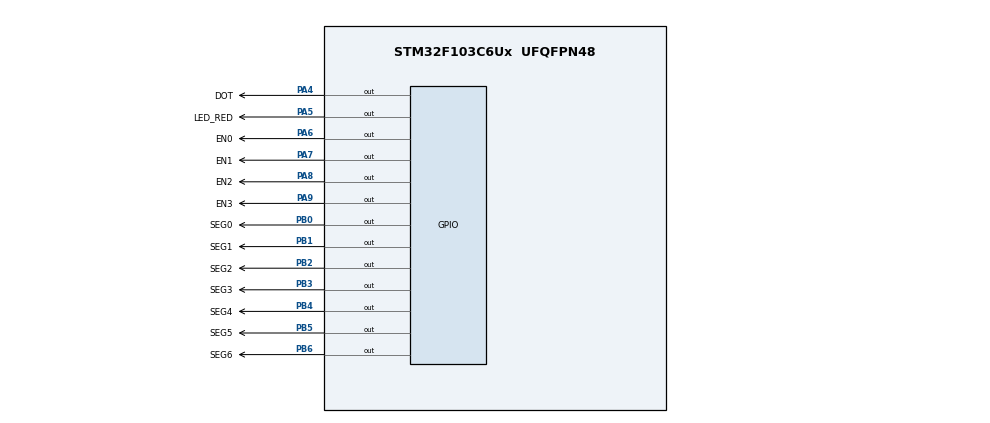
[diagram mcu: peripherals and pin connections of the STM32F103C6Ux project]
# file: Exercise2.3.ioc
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Mcu.Family=STM32F1
Mcu.Name=STM32F103C6Ux
Mcu.Package=UFQFPN48
NVIC.PriorityGroup=NVIC_PRIORITYGROUP_4
NVIC.TIM2_IRQn=true\:0\:0\:false\:false\:true\:true\:true
PA4.GPIO_Label=DOT
PA4.Signal=GPIO_Output
PA5.GPIO_Label=LED_RED
PA5.Signal=GPIO_Output
PA6.GPIO_Label=EN0
PA6.Signal=GPIO_Output
PA7.GPIO_Label=EN1
PA7.Signal=GPIO_Output
PA8.GPIO_Label=EN2
PA8.Signal=GPIO_Output
PA9.GPIO_Label=EN3
PA9.Signal=GPIO_Output
PB0.GPIO_Label=SEG0
PB0.Signal=GPIO_Output
PB1.GPIO_Label=SEG1
PB1.Signal=GPIO_Output
PB2.GPIO_Label=SEG2
PB2.Signal=GPIO_Output
PB3.GPIO_Label=SEG3
PB3.Signal=GPIO_Output
PB4.GPIO_Label=SEG4
PB4.Signal=GPIO_Output
PB5.GPIO_Label=SEG5
PB5.Signal=GPIO_Output
PB6.GPIO_Label=SEG6
PB6.Signal=GPIO_Output
ProjectManager.HeapSize=0x200
ProjectManager.StackSize=0x400
ProjectManager.TargetToolchain=STM32CubeIDE
RCC.APB1Freq_Value=8000000
RCC.APB2Freq_Value=8000000
TIM2.Period=9
TIM2.Prescaler=7999
VP_SYS_VS_ND.Mode=No_Debug
VP_TIM2_VS_ClockSourceINT.Mode=Internal
board=custom

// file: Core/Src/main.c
/* USER CODE BEGIN Header */
/**
  ******************************************************************************
  * @file           : main.c
  * @brief          : Main program body
  ******************************************************************************
  * @attention
  *
  * <h2><center>&copy; Copyright (c) 2024 STMicroelectronics.
  * All rights reserved.</center></h2>
  *
  * This software component is licensed by ST under BSD 3-Clause license,
  * the "License"; You may not use this file except in compliance with the
  * License. You may obtain a copy of the License at:
  *                        opensource.org/licenses/BSD-3-Clause
  *
  ******************************************************************************
  */
/* USER CODE END Header */
#include "main.h"

TIM_HandleTypeDef htim2;

void SystemClock_Config(void);
static void MX_GPIO_Init(void);
static void MX_TIM2_Init(void);

int main(void)
{

  /* MCU Configuration--------------------------------------------------------*/

  /* Reset of all peripherals, Initializes the Flash interface and the Systick. */
  HAL_Init();

  /* Configure the system clock */
  SystemClock_Config();

  /* Initialize all configured peripherals */
  MX_GPIO_Init();
  MX_TIM2_Init();
  /* USER CODE BEGIN 2 */
  HAL_TIM_Base_Start_IT(&htim2);
  /* USER CODE END 2 */

  /* Infinite loop */
  while (1)
  {

  }
}

void SystemClock_Config(void)
{
  RCC_OscInitTypeDef RCC_OscInitStruct = {0};
  RCC_ClkInitTypeDef RCC_ClkInitStruct = {0};

  /** Initializes the RCC Oscillators according to the specified parameters
  * in the RCC_OscInitTypeDef structure.
  */
  RCC_OscInitStruct.OscillatorType = RCC_OSCILLATORTYPE_HSI;
  RCC_OscInitStruct.HSIState = RCC_HSI_ON;
  RCC_OscInitStruct.HSICalibrationValue = RCC_HSICALIBRATION_DEFAULT;
  RCC_OscInitStruct.PLL.PLLState = RCC_PLL_NONE;
  if (HAL_RCC_OscConfig(&RCC_OscInitStruct) != HAL_OK)
  {
    Error_Handler();
  }
  /** Initializes the CPU, AHB and APB buses clocks
  */
  RCC_ClkInitStruct.ClockType = RCC_CLOCKTYPE_HCLK|RCC_CLOCKTYPE_SYSCLK
                              |RCC_CLOCKTYPE_PCLK1|RCC_CLOCKTYPE_PCLK2;
  RCC_ClkInitStruct.SYSCLKSource = RCC_SYSCLKSOURCE_HSI;
  RCC_ClkInitStruct.AHBCLKDivider = RCC_SYSCLK_DIV1;
  RCC_ClkInitStruct.APB1CLKDivider = RCC_HCLK_DIV1;
  RCC_ClkInitStruct.APB2CLKDivider = RCC_HCLK_DIV1;

  if (HAL_RCC_ClockConfig(&RCC_ClkInitStruct, FLASH_LATENCY_0) != HAL_OK)
  {
    Error_Handler();
  }
}

static void MX_TIM2_Init(void)
{

  TIM_ClockConfigTypeDef sClockSourceConfig = {0};
  TIM_MasterConfigTypeDef sMasterConfig = {0};

  htim2.Instance = TIM2;
  htim2.Init.Prescaler = 7999;
  htim2.Init.CounterMode = TIM_COUNTERMODE_UP;
  htim2.Init.Period = 9;
  htim2.Init.ClockDivision = TIM_CLOCKDIVISION_DIV1;
  htim2.Init.AutoReloadPreload = TIM_AUTORELOAD_PRELOAD_DISABLE;
  if (HAL_TIM_Base_Init(&htim2) != HAL_OK)
  {
    Error_Handler();
  }
  sClockSourceConfig.ClockSource = TIM_CLOCKSOURCE_INTERNAL;
  if (HAL_TIM_ConfigClockSource(&htim2, &sClockSourceConfig) != HAL_OK)
  {
    Error_Handler();
  }
  sMasterConfig.MasterOutputTrigger = TIM_TRGO_RESET;
  sMasterConfig.MasterSlaveMode = TIM_MASTERSLAVEMODE_DISABLE;
  if (HAL_TIMEx_MasterConfigSynchronization(&htim2, &sMasterConfig) != HAL_OK)
  {
    Error_Handler();
  }

}

static void MX_GPIO_Init(void)
{
  GPIO_InitTypeDef GPIO_InitStruct = {0};

  /* GPIO Ports Clock Enable */
  __HAL_RCC_GPIOA_CLK_ENABLE();
  __HAL_RCC_GPIOB_CLK_ENABLE();

  /*Configure GPIO pin Output Level */
  HAL_GPIO_WritePin(GPIOA, DOT_Pin|LED_RED_Pin|EN0_Pin|EN1_Pin
                          |EN2_Pin|EN3_Pin, GPIO_PIN_RESET);

  /*Configure GPIO pin Output Level */
  HAL_GPIO_WritePin(GPIOB, SEG0_Pin|SEG1_Pin|SEG2_Pin|SEG3_Pin
                          |SEG4_Pin|SEG5_Pin|SEG6_Pin, GPIO_PIN_RESET);

  /*Configure GPIO pins : DOT_Pin LED_RED_Pin EN0_Pin EN1_Pin
                           EN2_Pin EN3_Pin */
  GPIO_InitStruct.Pin = DOT_Pin|LED_RED_Pin|EN0_Pin|EN1_Pin
                          |EN2_Pin|EN3_Pin;
  GPIO_InitStruct.Mode = GPIO_MODE_OUTPUT_PP;
  GPIO_InitStruct.Pull = GPIO_NOPULL;
  GPIO_InitStruct.Speed = GPIO_SPEED_FREQ_LOW;
  HAL_GPIO_Init(GPIOA, &GPIO_InitStruct);

  /*Configure GPIO pins : SEG0_Pin SEG1_Pin SEG2_Pin SEG3_Pin
                           SEG4_Pin SEG5_Pin SEG6_Pin */
  GPIO_InitStruct.Pin = SEG0_Pin|SEG1_Pin|SEG2_Pin|SEG3_Pin
                          |SEG4_Pin|SEG5_Pin|SEG6_Pin;
  GPIO_InitStruct.Mode = GPIO_MODE_OUTPUT_PP;
  GPIO_InitStruct.Pull = GPIO_NOPULL;
  GPIO_InitStruct.Speed = GPIO_SPEED_FREQ_LOW;
  HAL_GPIO_Init(GPIOB, &GPIO_InitStruct);

}

/* USER CODE BEGIN 4 */
void display7SEG(int num) {
	char segNum[10] = {0xC0, 0xF9, 0xA4, 0xB0, 0x99, 0x92, 0x82, 0xF8, 0x80, 0x90};
	for (int i = 0; i < 7; ++i) {
		HAL_GPIO_WritePin(GPIOB, GPIO_PIN_0 << i, (segNum[num] >> i) & 1);
	}
}
void clear() {
	HAL_GPIO_WritePin(GPIOA, EN0_Pin | EN1_Pin | EN2_Pin | EN3_Pin, SET);
	HAL_GPIO_WritePin(GPIOB, SEG0_Pin | SEG1_Pin | SEG2_Pin |
							SEG3_Pin | SEG4_Pin | SEG5_Pin | SEG6_Pin, RESET);
}
int controllPin[4] = {EN0_Pin, EN1_Pin, EN2_Pin, EN3_Pin};
void enablePin(int pin) {
	HAL_GPIO_WritePin(GPIOA, controllPin[pin], RESET);
}
const int MAX_LED = 4;
int index_led = 0;
int led_buffer[4] = {1, 2, 3, 4};
void update7SEG(int index) {
	clear();
	HAL_GPIO_WritePin ( EN0_GPIO_Port , EN0_Pin , 1);
	HAL_GPIO_WritePin ( EN1_GPIO_Port , EN1_Pin , 1);
	HAL_GPIO_WritePin ( EN2_GPIO_Port , EN2_Pin , 1);
	HAL_GPIO_WritePin ( EN3_GPIO_Port , EN3_Pin , 1);
	switch (index) {
		case 0: {
			display7SEG(led_buffer[0]);
			enablePin(0);
			break;
		}
		case 1: {
			display7SEG(led_buffer[1]);
			enablePin(1);
			break;
		}
		case 2: {
			display7SEG(led_buffer[2]);
			enablePin(2);
			break;
		}
		case 3: {
			display7SEG(led_buffer[3]);
			enablePin(3);
			break;
		}
		default:
			break;
	}
}
int counter = 100;
void HAL_TIM_PeriodElapsedCallback(TIM_HandleTypeDef *htim) {
	counter--;
	if(counter == 50 || counter == 0) {
		if(counter == 0) {
			counter = 100;
			HAL_GPIO_TogglePin(LED_RED_GPIO_Port, LED_RED_Pin);
			HAL_GPIO_TogglePin(DOT_GPIO_Port, DOT_Pin);
		}
		update7SEG(index_led++);
		if(index_led >= 4) index_led = 0;
	}
}
/* USER CODE END 4 */

void Error_Handler(void)
{
  __disable_irq();
  while (1)
  {
  }
}

/************************ (C) COPYRIGHT STMicroelectronics *****END OF FILE****/
